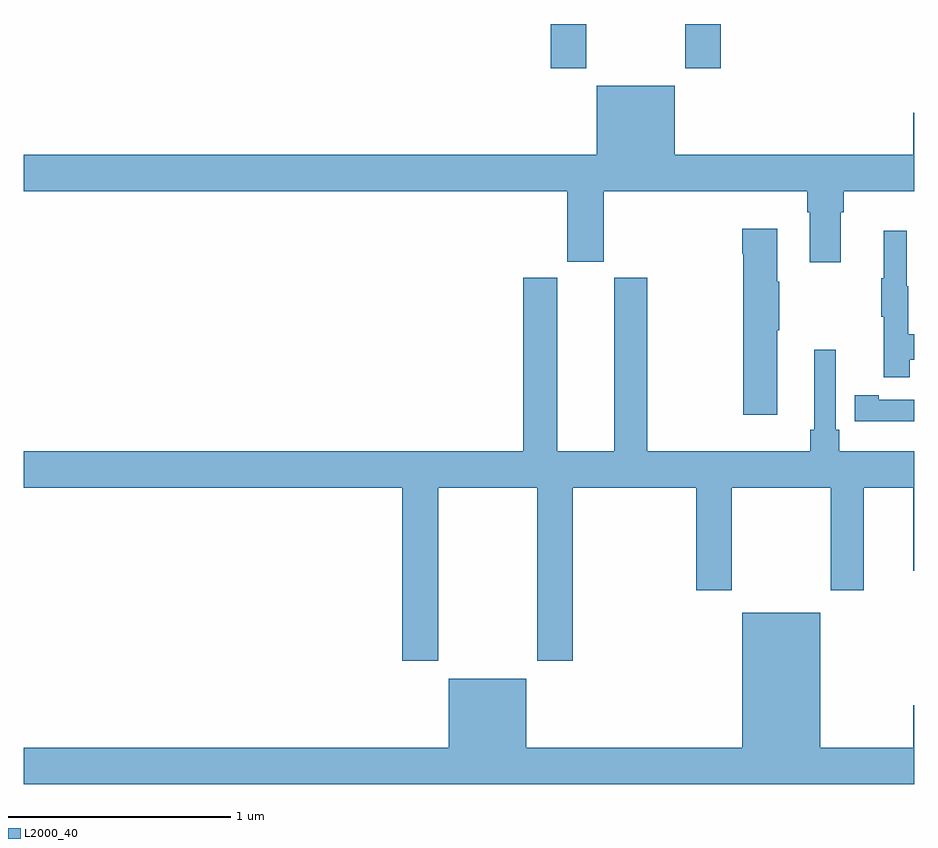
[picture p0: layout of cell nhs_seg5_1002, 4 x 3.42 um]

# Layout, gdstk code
import gdstk
lib = gdstk.Library(unit=1e-6, precision=1e-09)
def R(c, l, rs):  # rectangles x0, y0, x1, y1
    for r in rs: c.add(gdstk.rectangle(r[:2], r[2:], *l))
def P(c, l, *ps):  # polygons
    for p in ps: c.add(gdstk.Polygon(p, *l))
L2000_40 = (2000, 40)

nhs_seg5_1002 = lib.new_cell('nhs_seg5_1002')
R(nhs_seg5_1002, L2000_40, [(175.367,902.601,175.527,902.799), (175.972,902.601,176.132,902.799)])
P(nhs_seg5_1002, L2000_40, [(176.671,901.952),(176.684,901.952),(176.684,902.048),(177,902.048),(177,902.401),(176.996,902.401),(176.996,902.212),(175.924,902.212),(175.924,902.521),(175.574,902.521),(175.574,902.212),(173,902.212),(173,902.048),(175.442,902.048),(175.442,901.731),(175.606,901.731),(175.606,902.048),(176.519,902.048),(176.519,901.952),(176.531,901.952),(176.531,901.728),(176.671,901.728)],
  [(176.386,901.423),(176.394,901.423),(176.394,901.64),(176.386,901.64),(176.386,901.879),(176.228,901.879),(176.228,901.766),(176.233,901.766),(176.233,901.044),(176.386,901.044)],
  [(176.981,901.29),(177,901.29),(177,901.406),(176.974,901.406),(176.974,901.62),(176.966,901.62),(176.966,901.87),(176.864,901.87),(176.864,901.657),(176.853,901.657),(176.853,901.483),(176.864,901.483),(176.864,901.212),(176.981,901.212)],
  [(174.861,900.716),(175.306,900.716),(175.306,899.937),(175.466,899.937),(175.466,900.716),(176.021,900.716),(176.021,900.255),(176.181,900.255),(176.181,900.716),(176.626,900.716),(176.626,900.255),(176.773,900.255),(176.773,900.716),(176.996,900.716),(176.996,900.342),(177,900.342),(177,900.88),(176.663,900.88),(176.663,900.976),(176.649,900.976),(176.649,901.336),(176.552,901.336),(176.552,900.976),(176.533,900.976),(176.533,900.88),(175.8,900.88),(175.8,901.659),(175.652,901.659),(175.652,900.88),(175.396,900.88),(175.396,901.659),(175.244,901.659),(175.244,900.88),(173,900.88),(173,900.716),(174.701,900.716),(174.701,899.937),(174.861,899.937)],
  [(177,901.11),(176.842,901.11),(176.842,901.13),(176.734,901.13),(176.734,901.014),(176.842,901.014),(176.842,901.013),(177,901.013)],
  [(177,899.737),(176.996,899.737),(176.996,899.548),(176.578,899.548),(176.578,900.154),(176.228,900.154),(176.228,899.548),(175.258,899.548),(175.258,899.857),(174.908,899.857),(174.908,899.548),(173,899.548),(173,899.384),(177,899.384)])

lib.write_gds('nhs_seg5_1002.gds')
